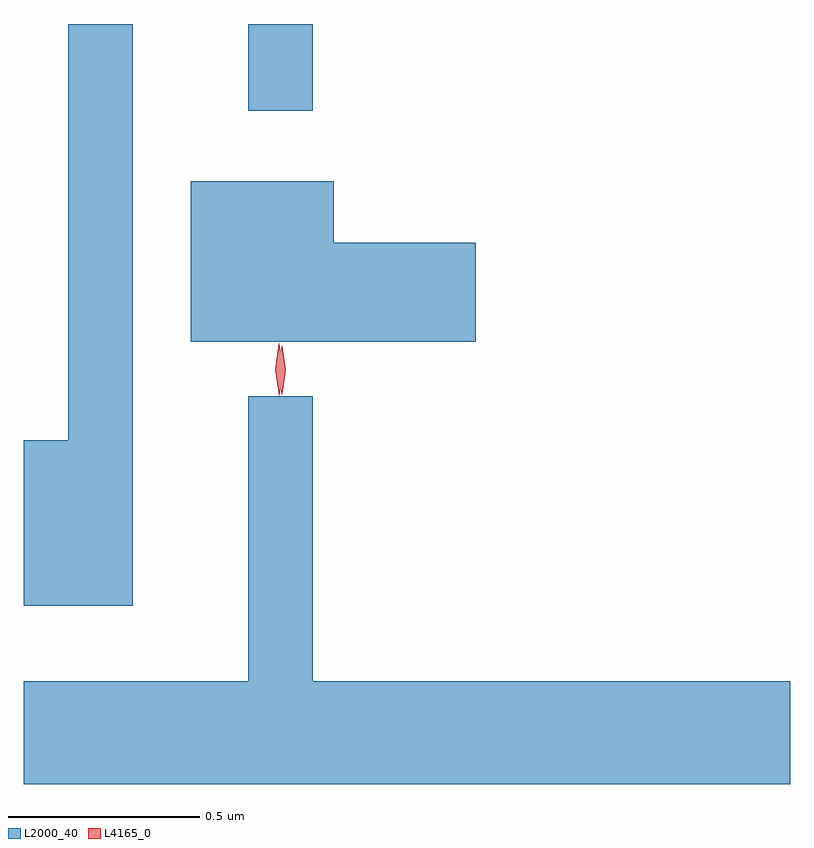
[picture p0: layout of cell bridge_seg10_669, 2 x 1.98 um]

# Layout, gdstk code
import gdstk
lib = gdstk.Library(unit=1e-6, precision=1e-09)
def R(c, l, rs):  # rectangles x0, y0, x1, y1
    for r in rs: c.add(gdstk.rectangle(r[:2], r[2:], *l))
def P(c, l, *ps):  # polygons
    for p in ps: c.add(gdstk.Polygon(p, *l))
L2000_40 = (2000, 40)
L4165_0 = (4165, 0)

bridge_seg10_669 = lib.new_cell('bridge_seg10_669')
R(bridge_seg10_669, L2000_40, [(716.621,2089.033,716.789,2089.26)])
P(bridge_seg10_669, L2000_40, [(716.319,2089.26),(716.151,2089.26),(716.151,2088.174),(716.035,2088.174),(716.035,2087.741),(716.319,2087.741)],
  [(717.214,2088.689),(716.844,2088.689),(716.844,2088.849),(716.471,2088.849),(716.471,2088.431),(717.214,2088.431)],
  [(718.035,2087.544),(716.789,2087.544),(716.789,2088.288),(716.621,2088.288),(716.621,2087.544),(716.035,2087.544),(716.035,2087.276),(718.035,2087.276)])
P(bridge_seg10_669, L4165_0, [(716.708,2088.293),(716.708,2088.294),(716.698,2088.356),(716.708,2088.419),(716.708,2088.42),(716.709,2088.419),(716.718,2088.356),(716.709,2088.294)],
  [(716.701,2088.29),(716.701,2088.29),(716.691,2088.358),(716.7,2088.425),(716.701,2088.426),(716.701,2088.425),(716.711,2088.358),(716.702,2088.29)])

lib.write_gds('bridge_seg10_669.gds')
